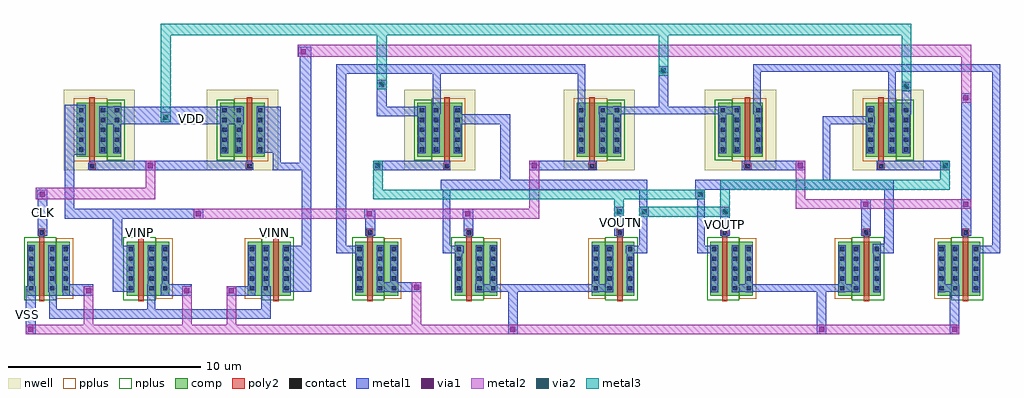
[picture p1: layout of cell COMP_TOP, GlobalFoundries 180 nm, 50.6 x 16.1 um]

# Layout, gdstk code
import gdstk
lib = gdstk.Library(unit=1e-6, precision=5e-09)
def R(c, l, rs):  # rectangles x0, y0, x1, y1
    for r in rs: c.add(gdstk.rectangle(r[:2], r[2:], *l))
def A(c, l, x, y, w, h, nx, ny, dx, dy):  # array of equal rectangles
    R(c, l, [(x+i*dx, y+j*dy, x+i*dx+w, y+j*dy+h) for i in range(nx) for j in range(ny)])
nwell = (21, 0)
comp = (22, 0)
poly2 = (30, 0)
pplus = (31, 0)
nplus = (32, 0)
contact = (33, 0)
metal1 = (34, 0)
via1 = (35, 0)
metal2 = (36, 0)
via2 = (38, 0)
metal3 = (42, 0)

comp_top = lib.new_cell('COMP_TOP')
R(comp_top, nwell, [(-7.05,-3.49,-3.36,0.69), (0.38,-3.49,4.07,0.69), (10.61,-3.49,14.3,0.69), (18.87,-3.49,22.56,0.69), (26.2,-3.49,29.89,0.69), (33.86,-3.49,37.55,0.69)])
R(comp_top, comp, [(-8.93,-10,-8.51,-7.2), (-8.51,-10,-7.85,-7.2), (-7.85,-10,-7.43,-7.2), (-7.43,-10,-6.72,-7.2), (-3.78,-10,-3.36,-7.2), (-3.36,-10,-2.7,-7.2), (-2.7,-10,-2.28,-7.2), (-2.28,-10,-1.57,-7.2), (2.51,-10,3.22,-7.2), (3.22,-10,3.64,-7.2), (3.64,-10,4.3,-7.2), (4.3,-10,4.72,-7.2), (8.08,-10,8.5,-7.2), (8.5,-10,9.16,-7.2), (9.16,-10,9.58,-7.2), (9.58,-10,10.29,-7.2), (13.23,-10,13.65,-7.2), (13.65,-10,14.31,-7.2), (14.31,-10,14.73,-7.2), (14.73,-10,15.44,-7.2), (20.33,-10,21.04,-7.2), (21.04,-10,21.46,-7.2), (21.46,-10,22.12,-7.2), (22.12,-10,22.54,-7.2), (26.48,-10,26.9,-7.2), (26.9,-10,27.56,-7.2), (27.56,-10,27.98,-7.2), (27.98,-10,28.69,-7.2), (33.11,-10,33.82,-7.2), (33.82,-10,34.24,-7.2), (34.24,-10,34.9,-7.2), (34.9,-10,35.32,-7.2), (38.26,-10,38.97,-7.2), (38.97,-10,39.39,-7.2), (39.39,-10,40.05,-7.2), (40.05,-10,40.47,-7.2), (-6.36,-2.8,-5.9,0), (-5.9,-2.8,-5.24,0), (-5.24,-2.8,-4.78,0), (-4.78,-2.8,-4.05,0), (1.07,-2.8,1.8,0), (1.8,-2.8,2.26,0), (2.26,-2.8,2.92,0), (2.92,-2.8,3.38,0), (11.3,-2.8,12.03,0), (12.03,-2.8,12.49,0), (12.49,-2.8,13.15,0), (13.15,-2.8,13.61,0), (19.56,-2.8,20.02,0), (20.02,-2.8,20.68,0), (20.68,-2.8,21.14,0), (21.14,-2.8,21.87,0), (26.89,-2.8,27.62,0), (27.62,-2.8,28.08,0), (28.08,-2.8,28.74,0), (28.74,-2.8,29.2,0), (34.55,-2.8,35.01,0), (35.01,-2.8,35.67,0), (35.67,-2.8,36.13,0), (36.13,-2.8,36.86,0)])
R(comp_top, poly2, [(-8.32,-10.3,-8.04,-6.9), (-3.17,-10.3,-2.89,-6.9), (3.83,-10.3,4.11,-6.9), (8.69,-10.3,8.97,-6.9), (13.84,-10.3,14.12,-6.9), (21.65,-10.3,21.93,-6.9), (27.09,-10.3,27.37,-6.9), (34.43,-10.3,34.71,-6.9), (39.58,-10.3,39.86,-6.9), (-8.36,-6.9,-8,-6.54), (-3.21,-6.9,-2.85,-6.54), (3.79,-6.9,4.15,-6.54), (8.65,-6.9,9.01,-6.54), (13.8,-6.9,14.16,-6.54), (21.61,-6.9,21.97,-6.54), (27.05,-6.9,27.41,-6.54), (34.39,-6.9,34.75,-6.54), (39.54,-6.9,39.9,-6.54), (-5.76,-3.48,-5.38,-3.1), (2.4,-3.48,2.78,-3.1), (12.63,-3.48,13.01,-3.1), (20.16,-3.48,20.54,-3.1), (28.22,-3.48,28.6,-3.1), (35.15,-3.48,35.53,-3.1), (-5.71,-3.1,-5.43,0.3), (2.45,-3.1,2.73,0.3), (12.68,-3.1,12.96,0.3), (20.21,-3.1,20.49,0.3), (28.27,-3.1,28.55,0.3), (35.2,-3.1,35.48,0.3)])
R(comp_top, pplus, [(-7.43,-10.17,-6.55,-7.03), (-2.28,-10.17,-1.4,-7.03), (2.34,-10.17,3.22,-7.03), (9.58,-10.17,10.46,-7.03), (14.73,-10.17,15.61,-7.03), (20.16,-10.17,21.04,-7.03), (27.98,-10.17,28.86,-7.03), (32.94,-10.17,33.82,-7.03), (38.09,-10.17,38.97,-7.03), (-6.53,-3.04,-4.78,0.24), (1.8,-3.04,3.55,0.24), (12.03,-3.04,13.78,0.24), (19.39,-3.04,21.14,0.24), (27.62,-3.04,29.37,0.24), (34.38,-3.04,36.13,0.24)])
R(comp_top, nplus, [(-9.1,-10.24,-7.43,-6.96), (-3.95,-10.24,-2.28,-6.96), (3.22,-10.24,4.89,-6.96), (7.91,-10.24,9.58,-6.96), (13.06,-10.24,14.73,-6.96), (21.04,-10.24,22.71,-6.96), (26.31,-10.24,27.98,-6.96), (33.82,-10.24,35.49,-6.96), (38.97,-10.24,40.64,-6.96), (-4.78,-2.97,-3.88,0.17), (0.9,-2.97,1.8,0.17), (11.13,-2.97,12.03,0.17), (21.14,-2.97,22.04,0.17), (26.72,-2.97,27.62,0.17), (36.13,-2.97,37.03,0.17)])
A(comp_top, contact, -8.83, -9.73, 0.22, 0.22, 1, 5, 0, 0.51)
A(comp_top, contact, -7.75, -9.73, 0.22, 0.22, 1, 5, 0, 0.51)
A(comp_top, contact, -7.04, -9.73, 0.22, 0.22, 1, 5, 0, 0.51)
A(comp_top, contact, -3.68, -9.73, 0.22, 0.22, 1, 5, 0, 0.51)
A(comp_top, contact, -2.6, -9.73, 0.22, 0.22, 1, 5, 0, 0.51)
A(comp_top, contact, -1.89, -9.73, 0.22, 0.22, 1, 5, 0, 0.51)
A(comp_top, contact, 2.61, -9.73, 0.22, 0.22, 1, 5, 0, 0.51)
A(comp_top, contact, 3.32, -9.73, 0.22, 0.22, 1, 5, 0, 0.51)
A(comp_top, contact, 4.4, -9.73, 0.22, 0.22, 1, 5, 0, 0.51)
A(comp_top, contact, 8.18, -9.73, 0.22, 0.22, 1, 5, 0, 0.51)
A(comp_top, contact, 9.26, -9.73, 0.22, 0.22, 1, 5, 0, 0.51)
A(comp_top, contact, 9.97, -9.73, 0.22, 0.22, 1, 5, 0, 0.51)
A(comp_top, contact, 13.33, -9.73, 0.22, 0.22, 1, 5, 0, 0.51)
A(comp_top, contact, 14.41, -9.73, 0.22, 0.22, 1, 5, 0, 0.51)
A(comp_top, contact, 15.12, -9.73, 0.22, 0.22, 1, 5, 0, 0.51)
A(comp_top, contact, 20.43, -9.73, 0.22, 0.22, 1, 5, 0, 0.51)
A(comp_top, contact, 21.14, -9.73, 0.22, 0.22, 1, 5, 0, 0.51)
A(comp_top, contact, 22.22, -9.73, 0.22, 0.22, 1, 5, 0, 0.51)
A(comp_top, contact, 26.58, -9.73, 0.22, 0.22, 1, 5, 0, 0.51)
A(comp_top, contact, 27.66, -9.73, 0.22, 0.22, 1, 5, 0, 0.51)
A(comp_top, contact, 28.37, -9.73, 0.22, 0.22, 1, 5, 0, 0.51)
A(comp_top, contact, 33.21, -9.73, 0.22, 0.22, 1, 5, 0, 0.51)
A(comp_top, contact, 33.92, -9.73, 0.22, 0.22, 1, 5, 0, 0.51)
A(comp_top, contact, 35, -9.73, 0.22, 0.22, 1, 5, 0, 0.51)
A(comp_top, contact, 38.36, -9.73, 0.22, 0.22, 1, 5, 0, 0.51)
A(comp_top, contact, 39.07, -9.73, 0.22, 0.22, 1, 5, 0, 0.51)
A(comp_top, contact, 40.15, -9.73, 0.22, 0.22, 1, 5, 0, 0.51)
A(comp_top, contact, -6.24, -2.53, 0.22, 0.22, 1, 5, 0, 0.51)
A(comp_top, contact, -5.12, -2.53, 0.22, 0.22, 1, 5, 0, 0.51)
A(comp_top, contact, -4.39, -2.53, 0.22, 0.22, 1, 5, 0, 0.51)
A(comp_top, contact, 1.19, -2.53, 0.22, 0.22, 1, 5, 0, 0.51)
A(comp_top, contact, 1.92, -2.53, 0.22, 0.22, 1, 5, 0, 0.51)
A(comp_top, contact, 3.04, -2.53, 0.22, 0.22, 1, 5, 0, 0.51)
A(comp_top, contact, 11.42, -2.53, 0.22, 0.22, 1, 5, 0, 0.51)
A(comp_top, contact, 12.15, -2.53, 0.22, 0.22, 1, 5, 0, 0.51)
A(comp_top, contact, 13.27, -2.53, 0.22, 0.22, 1, 5, 0, 0.51)
A(comp_top, contact, 19.68, -2.53, 0.22, 0.22, 1, 5, 0, 0.51)
A(comp_top, contact, 20.8, -2.53, 0.22, 0.22, 1, 5, 0, 0.51)
A(comp_top, contact, 21.53, -2.53, 0.22, 0.22, 1, 5, 0, 0.51)
A(comp_top, contact, 27.01, -2.53, 0.22, 0.22, 1, 5, 0, 0.51)
A(comp_top, contact, 27.74, -2.53, 0.22, 0.22, 1, 5, 0, 0.51)
A(comp_top, contact, 28.86, -2.53, 0.22, 0.22, 1, 5, 0, 0.51)
A(comp_top, contact, 34.67, -2.53, 0.22, 0.22, 1, 5, 0, 0.51)
A(comp_top, contact, 35.79, -2.53, 0.22, 0.22, 1, 5, 0, 0.51)
A(comp_top, contact, 36.52, -2.53, 0.22, 0.22, 1, 5, 0, 0.51)
R(comp_top, contact, [(-8.29,-6.83,-8.07,-6.61), (-3.14,-6.83,-2.92,-6.61), (3.86,-6.83,4.08,-6.61), (8.72,-6.83,8.94,-6.61), (13.87,-6.83,14.09,-6.61), (21.68,-6.83,21.9,-6.61), (27.12,-6.83,27.34,-6.61), (34.46,-6.83,34.68,-6.61), (39.61,-6.83,39.83,-6.61), (-5.68,-3.4,-5.46,-3.18), (2.48,-3.4,2.7,-3.18), (12.71,-3.4,12.93,-3.18), (20.24,-3.4,20.46,-3.18), (28.3,-3.4,28.52,-3.18), (35.23,-3.4,35.45,-3.18)])
R(comp_top, metal1, [(-9,-12,-8.5,-11.5), (-9,-12,-8.5,-9.5), (16,-12,16.5,-9.4), (16,-12,16.5,-11.5), (32,-12,32.5,-9.4), (32,-12,32.5,-11.5), (38.9,-12,39.4,-9.4), (38.9,-12,39.4,-11.5), (-7.8,-11.2,-7.4,-9.4), (-7.8,-11.2,3.7,-10.7), (-2.7,-11.2,-2.3,-9.4), (3.2,-11.2,3.7,-9.5), (-7.1,-10,-5.5,-9.4), (-6,-10,-5.5,-9.5), (-2,-10,-0.4,-9.4), (-0.9,-10,-0.4,-9.5), (1.4,-10,1.9,-9.5), (1.4,-10,2.9,-9.5), (-8.91,-9.81,-8.53,-7.39), (-7.83,-9.81,-7.45,-7.39), (-7.12,-9.81,-6.74,-7.39), (-3.76,-9.81,-3.38,-7.39), (-2.68,-9.81,-2.3,-7.39), (-1.97,-9.81,-1.59,-7.39), (2.53,-9.81,2.91,-7.39), (3.24,-9.81,3.62,-7.39), (4.32,-9.81,4.7,-7.39), (8.1,-9.81,8.48,-7.39), (9.18,-9.81,9.56,-7.39), (9.89,-9.81,10.27,-7.39), (13.25,-9.81,13.63,-7.39), (14.33,-9.81,14.71,-7.39), (15.04,-9.81,15.42,-7.39), (20.35,-9.81,20.73,-7.39), (21.06,-9.81,21.44,-7.39), (22.14,-9.81,22.52,-7.39), (26.5,-9.81,26.88,-7.39), (27.58,-9.81,27.96,-7.39), (28.29,-9.81,28.67,-7.39), (33.13,-9.81,33.51,-7.39), (33.84,-9.81,34.22,-7.39), (34.92,-9.81,35.3,-7.39), (38.28,-9.81,38.66,-7.39), (38.99,-9.81,39.37,-7.39), (40.07,-9.81,40.45,-7.39), (-4.5,-9.8,-3.4,-7.4), (4.4,-9.8,5.8,-7.4), (9.2,-9.8,11.5,-9.3), (11,-9.8,11.5,-9.3), (14.3,-9.8,21.4,-9.4), (27.6,-9.8,34.2,-9.4), (38.3,-9.8,39.4,-9.4), (-4.5,-7.9,-4,-5.5), (5.3,-7.9,5.8,-3.1), (7.1,-7.8,7.6,2), (7.1,-7.8,8.5,-7.4), (12.6,-7.8,13,-4), (12.6,-7.8,13.7,-7.4), (22.1,-7.8,23.2,-7.4), (22.8,-7.8,23.2,-4), (25.8,-7.8,26.2,-4), (25.8,-7.8,26.9,-7.4), (34.9,-7.8,36,-7.3), (35.5,-7.8,36,-4), (40.1,-7.8,41.5,-7.4), (41.1,-7.8,41.5,2), (-8.37,-6.91,-7.99,-6.53), (-3.22,-6.91,-2.84,-6.53), (3.78,-6.91,4.16,-6.53), (8.64,-6.91,9.02,-6.53), (13.79,-6.91,14.17,-6.53), (21.6,-6.91,21.98,-6.53), (27.04,-6.91,27.42,-6.53), (34.38,-6.91,34.76,-6.53), (39.53,-6.91,39.91,-6.53), (-8.4,-6.9,-7.9,-4.5), (8.6,-6.9,9.1,-5.5), (13.7,-6.9,14.2,-5.5), (21.5,-6.9,22,-5.4), (27,-6.9,27.5,-5.4), (34.3,-6.9,34.8,-5), (39.5,-6.9,40,0.5), (-7,-6,-6.5,-0.2), (-7,-6,-4,-5.5), (-4.5,-6,0.2,-5.5), (-0.31,-6,0.19,-5.5), (8.55,-6,9.05,-5.5), (13.65,-6,14.15,-5.5), (21.5,-5.9,22,-5.4), (22.8,-5.9,23.3,-5.4), (27,-5.9,27.5,-5.4), (34.28,-5.5,34.78,-5), (39.48,-5.5,39.98,-5), (-8.41,-5,-7.91,-4.5), (25.7,-5,26.2,-4.5), (12.5,-4.5,23.2,-4), (15.6,-4.5,16.1,-0.6), (25.7,-4.5,36,-4), (32.3,-4.5,32.7,-0.7), (-5.7,-3.5,2.7,-3), (-2.8,-3.5,-2.3,-3), (3.8,-3.5,4.2,-2.3), (3.8,-3.5,5.8,-3.1), (5.2,-3.5,5.8,2.9), (9,-3.5,9.5,-3), (9,-3.5,13,-3), (17.1,-3.5,17.6,-3), (17.1,-3.5,20.6,-3), (28.1,-3.5,31.4,-3), (30.9,-3.5,31.4,-3), (35.1,-3.5,38.9,-3), (38.4,-3.5,38.9,-3), (-5.76,-3.48,-5.38,-3.1), (2.4,-3.48,2.78,-3.1), (12.63,-3.48,13.01,-3.1), (20.16,-3.48,20.54,-3.1), (28.22,-3.48,28.6,-3.1), (35.15,-3.48,35.53,-3.1), (-7,-2.7,-5.9,-0.1), (-6.32,-2.61,-5.94,-0.19), (-5.2,-2.61,-4.82,-0.19), (-4.47,-2.61,-4.09,-0.19), (1.11,-2.61,1.49,-0.19), (1.84,-2.61,2.22,-0.19), (2.96,-2.61,3.34,-0.19), (11.34,-2.61,11.72,-0.19), (12.07,-2.61,12.45,-0.19), (13.19,-2.61,13.57,-0.19), (19.6,-2.61,19.98,-0.19), (20.72,-2.61,21.1,-0.19), (21.45,-2.61,21.83,-0.19), (26.93,-2.61,27.31,-0.19), (27.66,-2.61,28.04,-0.19), (28.78,-2.61,29.16,-0.19), (34.59,-2.61,34.97,-0.19), (35.71,-2.61,36.09,-0.19), (36.44,-2.61,36.82,-0.19), (3,-2.6,4.2,-0.2), (-5.2,-1.1,2.3,-0.2), (13.2,-1.1,16.1,-0.6), (32.3,-1.1,35,-0.7), (-2,-1,-1.5,-0.5), (9.2,-0.7,11.7,-0.2), (9.2,-0.7,9.7,1.2), (19.6,-0.7,20,2), (12.1,-0.6,12.5,2), (20.7,-0.6,28,-0.2), (23.8,-0.6,24.3,1.9), (28.7,-0.6,29.1,2), (35.7,-0.6,36.1,2), (36.4,-0.6,36.9,1.1), (39.48,0,39.98,0.5), (36.4,0.6,36.9,1.1), (9.2,0.7,9.7,1.2), (23.8,1.4,24.3,1.9), (7.1,1.5,20,2), (28.7,1.6,41.5,2), (5.13,2.4,5.63,2.9)])
R(comp_top, via1, [(-8.88,-11.88,-8.62,-11.62), (16.12,-11.88,16.38,-11.62), (32.12,-11.88,32.38,-11.62), (39.02,-11.88,39.28,-11.62), (-5.88,-9.88,-5.62,-9.62), (-0.78,-9.88,-0.52,-9.62), (1.52,-9.88,1.78,-9.62), (11.12,-9.68,11.38,-9.42), (-0.19,-5.88,0.07,-5.62), (8.67,-5.88,8.93,-5.62), (13.77,-5.88,14.03,-5.62), (21.62,-5.78,21.88,-5.52), (22.92,-5.78,23.18,-5.52), (27.12,-5.78,27.38,-5.52), (34.4,-5.38,34.66,-5.12), (39.6,-5.38,39.86,-5.12), (-8.29,-4.88,-8.03,-4.62), (25.82,-4.88,26.08,-4.62), (-2.68,-3.38,-2.42,-3.12), (9.12,-3.38,9.38,-3.12), (17.22,-3.38,17.48,-3.12), (31.02,-3.38,31.28,-3.12), (38.52,-3.38,38.78,-3.12), (-1.88,-0.88,-1.62,-0.62), (39.6,0.12,39.86,0.38), (36.52,0.72,36.78,0.98), (9.32,0.82,9.58,1.08), (23.92,1.52,24.18,1.78), (5.25,2.52,5.51,2.78)])
R(comp_top, metal2, [(-9,-12,39.4,-11.5), (-9,-12,-8.5,-11.5), (-6,-12,-5.5,-9.5), (-0.9,-12,-0.4,-9.5), (1.4,-12,1.9,-9.5), (11,-12,11.5,-9.3), (16,-12,16.5,-11.5), (32,-12,32.5,-11.5), (38.9,-12,39.4,-11.5), (-6,-10,-5.5,-9.5), (-0.9,-10,-0.4,-9.5), (1.4,-10,1.9,-9.5), (11,-9.8,11.5,-9.3), (-0.31,-6,0.19,-5.5), (-0.3,-6,17.6,-5.5), (8.55,-6,9.05,-5.5), (13.65,-6,14.15,-5.5), (17.1,-6,17.6,-3), (21.5,-5.9,22,-5.4), (22.8,-5.9,23.3,-5.4), (27,-5.9,27.5,-5.4), (30.9,-5.5,31.4,-3), (30.9,-5.5,40,-5), (34.28,-5.5,34.78,-5), (39.48,-5.5,39.98,-5), (-8.5,-5,-2.5,-4.4), (-8.41,-5,-7.91,-4.5), (-2.8,-5,-2.3,-3), (25.7,-5,26.2,-4.5), (-2.8,-3.5,-2.3,-3), (9,-3.5,9.5,-3), (17.1,-3.5,17.6,-3), (30.9,-3.5,31.4,-3), (38.4,-3.5,38.9,-3), (-2,-1,-1.5,-0.5), (39.48,0,39.98,0.5), (39.5,0,40,3), (36.4,0.6,36.9,1.1), (9.2,0.7,9.7,1.2), (23.8,1.4,24.3,1.9), (5.1,2.4,40,3), (5.13,2.4,5.63,2.9)])
R(comp_top, via2, [(21.62,-5.78,21.88,-5.52), (22.92,-5.78,23.18,-5.52), (27.12,-5.78,27.38,-5.52), (25.82,-4.88,26.08,-4.62), (9.12,-3.38,9.38,-3.12), (38.52,-3.38,38.78,-3.12), (-1.88,-0.88,-1.62,-0.62), (36.52,0.72,36.78,0.98), (9.32,0.82,9.58,1.08), (23.92,1.52,24.18,1.78)])
R(comp_top, metal3, [(21.5,-5.9,22,-4.5), (21.5,-5.9,22,-5.4), (22.8,-5.9,27.4,-5.4), (22.8,-5.9,23.3,-5.4), (27,-5.9,27.5,-4), (27,-5.9,27.5,-5.4), (9,-5,22,-4.5), (9,-5,9.5,-3), (21.5,-5,26.2,-4.5), (25.7,-5,26.2,-4.5), (27,-4.5,38.9,-4), (38.4,-4.5,38.9,-3), (9,-3.5,9.5,-3), (38.4,-3.5,38.9,-3), (-2,-1,-1.5,4.1), (-2,-1,-1.5,-0.5), (36.4,0.6,36.9,3.9), (36.4,0.6,36.9,1.1), (9.2,0.7,9.7,4.1), (9.2,0.7,9.7,1.2), (23.8,1.4,24.3,4), (23.8,1.4,24.3,1.9), (-2,3.5,36.9,4.1)])
comp_top.add(gdstk.Label('VDD', (-0.4,-0.8), layer=34, texttype=10))
comp_top.add(gdstk.Label('CLK', (-8.1,-5.7), layer=34, texttype=10))
comp_top.add(gdstk.Label('VOUTP', (27.2,-6.3), layer=34, texttype=10))
comp_top.add(gdstk.Label('VOUTN', (21.8,-6.2), layer=34, texttype=10))
comp_top.add(gdstk.Label('VINP', (-3.1,-6.7), layer=34, texttype=10))
comp_top.add(gdstk.Label('VINN', (3.9,-6.7), layer=34, texttype=10))
comp_top.add(gdstk.Label('VSS', (-8.9,-11), layer=34, texttype=10))

lib.write_gds('COMP_TOP.gds')
